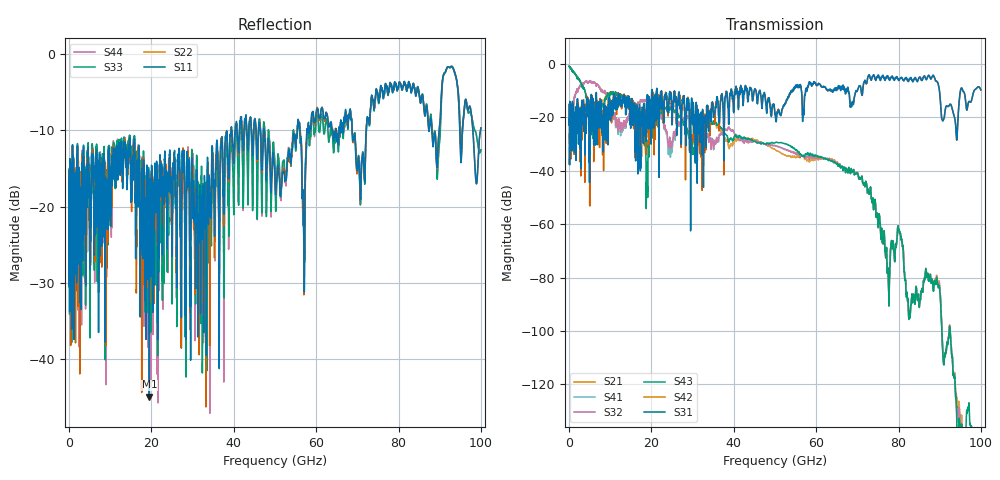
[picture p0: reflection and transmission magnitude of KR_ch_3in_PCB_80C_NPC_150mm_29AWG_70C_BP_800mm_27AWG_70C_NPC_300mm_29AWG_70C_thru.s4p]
# GHz S RI R 45
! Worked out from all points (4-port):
!   4000 points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, 25 MHz to 100 GHz, reference 45 ohm
!   strongest paths, dB at 25 MHz, 25.02 GHz, 50.02 GHz, 75.03 GHz, 100 GHz:
!     S31: -20.7, -20.7, -18.9, -4.2, -9.7
!     S42: -20.7, -17.7, -18.0, -4.4, -9.7
!     S43: -0.8, -16.5, -29.5, -59.4, -151.1
!     S32: -35.7, -30.4, -30.7, -59.4, -157.6
!     S41: -35.7, -32.8, -30.6, -59.4, -157.9
!     S21: -0.9, -16.4, -32.1, -59.5, -168.3
!   lowest |S11| = -44.9 dB at 19.5 GHz (marker M1), VSWR 1.01, Z = 45.3 - j0.441 ohm
!   |S11| at or under -10 dB: start of sweep to 39.34 GHz; 47.31 GHz to 55.46 GHz (8.147 GHz wide, 15.9 % of centre); 68.75 GHz to 72.18 GHz (3.437 GHz wide, 4.88 % of centre) (the widest 3 of 23)
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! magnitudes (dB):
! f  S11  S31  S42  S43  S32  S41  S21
! 25 MHz  -16.4  -20.7  -20.7  -0.8  -35.7  -35.7  -0.9
! 3.825 GHz  -17.4  -28.6  -22.5  -9.8  -6.8  -6.9  -9.9
! 19.5 GHz  -44.9  -14.6  -30.3  -28.9  -14.5  -14.6  -24.0
! 63.6 GHz  -8.9  -10.2  -9.7  -36.5  -36.1  -36.2  -35.8
! 73.03 GHz  -8.7  -4.7  -4.5  -48.3  -48.3  -48.3  -48.4
! 77.47 GHz  -5.2  -5.1  -4.7  -78.3  -78.4  -78.4  -78.4
! 100 GHz  -9.7  -9.7  -9.7  -151.1  -157.6  -157.9  -168.3
